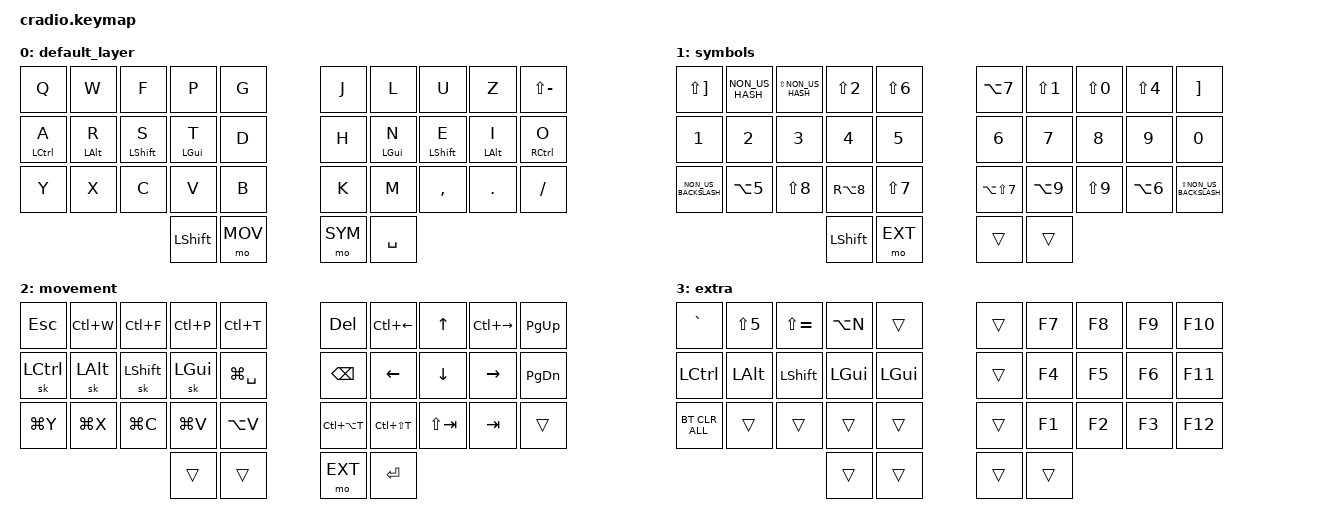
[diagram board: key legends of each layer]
#include <behaviors.dtsi>
#include <dt-bindings/zmk/bt.h>
#include <dt-bindings/zmk/keys.h>
#include <dt-bindings/zmk/mouse.h>

#define SYM 1
#define MOV 2
#define EXT 3

/ {
    combos {
        compatible = "zmk,combos";

        type_at {
            timeout-ms = <50>;
            bindings = <&kp LA(L)>;
            key-positions = <15 0>;
            layers = <0>;
        };

        type_ae {
            timeout-ms = <50>;
            bindings = <&kp SINGLE_QUOTE>;
            key-positions = <15 10>;
            layers = <0>;
        };

        type_sz {
            timeout-ms = <50>;
            bindings = <&kp MINUS>;
            key-positions = <15 12>;
            layers = <0>;
        };

        type_ue {
            timeout-ms = <50>;
            bindings = <&kp LEFT_BRACKET>;
            key-positions = <14 7>;
            layers = <0>;
        };

        type_oe {
            timeout-ms = <50>;
            bindings = <&kp SEMICOLON>;
            key-positions = <14 19>;
            layers = <0>;
        };

        type_eur {
            timeout-ms = <50>;
            bindings = <&kp RA(E)>;
            key-positions = <14 17>;
            layers = <0>;
        };

        backspace {
            bindings = <&kp BACKSPACE>;
            key-positions = <7 6>;
            layers = <0 1>;
        };

        delete_left_hand {
            bindings = <&kp DELETE>;
            key-positions = <2 3>;
        };

        left_click {
            bindings = <&mkp LCLK>;
            key-positions = <22 23>;
        };

        middle_click {
            bindings = <&mkp MCLK>;
            key-positions = <21 22>;
        };

        right_click {
            bindings = <&mkp RCLK>;
            key-positions = <20 21>;
        };
    };

    behaviors {
        ht: hold_tap {
            compatible = "zmk,behavior-hold-tap";
            #binding-cells = <2>;
            flavor = "tap-preferred";
            tapping-term-ms = <220>;
            quick-tap-ms = <150>;
            global-quick-tap;
            bindings = <&kp>, <&kp>;
        };

        skq: sticky_key_quick_release {
            compatible = "zmk,behavior-sticky-key";
            #binding-cells = <1>;
            bindings = <&kp>;
            release-after-ms = <1000>;
            quick-release;
        };
    };

    keymap {
        compatible = "zmk,keymap";

        default_layer {
            bindings = <
&kp Q               &kp W       &kp F        &kp P       &kp G      &kp J    &kp L       &kp U        &kp Z       &kp LS(MINUS)
&ht LEFT_CONTROL A  &ht LALT R  &ht LSHFT S  &ht LGUI T  &kp D      &kp H    &ht LGUI N  &ht LSHFT E  &ht LALT I  &ht RIGHT_CONTROL O
&kp Y               &kp X       &kp C        &kp V       &kp B      &kp K    &kp M       &kp COMMA    &kp PERIOD  &kp SLASH
                                             &kp LSHFT   &mo MOV    &mo SYM  &kp SPACE
            >;
        };

        symbols {
            bindings = <
&kp LS(RIGHT_BRACKET)  &kp NON_US_HASH  &kp LS(NON_US_HASH)  &kp LS(NUMBER_2)  &kp LS(NUMBER_6)    &kp LA(N7)      &kp LS(NUMBER_1)  &kp LS(NUMBER_0)  &kp LS(NUMBER_4)  &kp RIGHT_BRACKET
&kp N1                 &kp N2           &kp N3               &kp N4            &kp N5              &kp N6          &kp N7            &kp N8            &kp N9            &kp N0
&kp NON_US_BACKSLASH   &kp LA(N5)       &kp LS(NUMBER_8)     &kp RA(NUMBER_8)  &kp LS(NUMBER_7)    &kp LA(LS(N7))  &kp LA(N9)        &kp LS(NUMBER_9)  &kp LA(N6)        &kp LS(NON_US_BACKSLASH)
                                                             &kp LSHFT         &mo EXT             &trans          &trans
            >;
        };

        movement {
            bindings = <
&kp ESC           &kp LC(W)  &kp LC(F)  &kp LC(P)  &kp LC(T)        &kp DEL        &kp LC(LEFT)   &kp UP       &kp LC(RIGHT)  &kp PG_UP
&sk LEFT_CONTROL  &sk LALT   &sk LSHFT  &sk LGUI   &kp LG(SPACE)    &kp BSPC       &kp LEFT       &kp DOWN     &kp RIGHT      &kp PG_DN
&kp LG(Y)         &kp LG(X)  &kp LG(C)  &kp LG(V)  &kp LA(V)        &kp LC(LA(T))  &kp LC(LS(T))  &kp LS(TAB)  &kp TAB        &trans
                                        &trans     &trans           &mo EXT        &kp RET
            >;
        };

        extra {
            bindings = <
&kp GRAVE         &kp LS(NUMBER_5)  &kp LS(EQUAL)  &kp LA(N)  &trans      &trans  &kp F7  &kp F8  &kp F9  &kp F10
&kp LEFT_CONTROL  &kp LALT          &kp LSHFT      &kp LGUI   &kp LGUI    &trans  &kp F4  &kp F5  &kp F6  &kp F11
&bt BT_CLR_ALL    &trans            &trans         &trans     &trans      &trans  &kp F1  &kp F2  &kp F3  &kp F12
                                                   &trans     &trans      &trans  &trans
            >;
        };
    };
};
